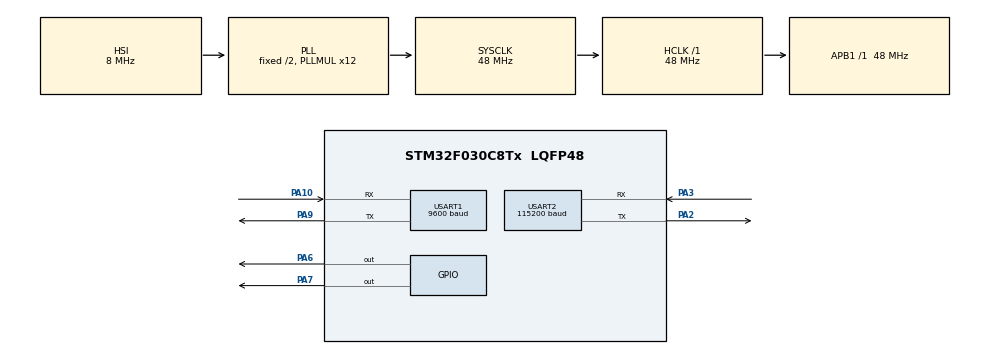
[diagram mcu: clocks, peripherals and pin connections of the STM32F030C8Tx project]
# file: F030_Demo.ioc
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Mcu.Family=STM32F0
Mcu.Name=STM32F030C8Tx
Mcu.Package=LQFP48
NVIC.USART1_IRQn=true\:0\:0\:false\:false\:true\:true\:true
NVIC.USART2_IRQn=true\:0\:0\:false\:false\:true\:true\:true
PA10.GPIO_PuPd=GPIO_PULLUP
PA10.Mode=Asynchronous
PA10.Signal=USART1_RX
PA13.Mode=Serial_Wire
PA13.Signal=SYS_SWDIO
PA14.Mode=Serial_Wire
PA14.Signal=SYS_SWCLK
PA2.GPIO_PuPd=GPIO_PULLUP
PA2.Mode=Asynchronous
PA2.Signal=USART2_TX
PA3.GPIO_PuPd=GPIO_PULLUP
PA3.Mode=Asynchronous
PA3.Signal=USART2_RX
PA6.GPIO_PuPd=GPIO_PULLUP
PA6.PinState=GPIO_PIN_SET
PA6.Signal=GPIO_Output
PA7.GPIO_PuPd=GPIO_PULLUP
PA7.PinState=GPIO_PIN_SET
PA7.Signal=GPIO_Output
PA9.GPIO_PuPd=GPIO_PULLUP
PA9.Mode=Asynchronous
PA9.Signal=USART1_TX
PF0-OSC_IN.Mode=HSE-External-Oscillator
PF0-OSC_IN.Signal=RCC_OSC_IN
PF1-OSC_OUT.Mode=HSE-External-Oscillator
PF1-OSC_OUT.Signal=RCC_OSC_OUT
ProjectManager.HeapSize=0x200
ProjectManager.StackSize=0x400
ProjectManager.TargetToolchain=MDK-ARM V5.27
RCC.AHBFreq_Value=48000000
RCC.APB1Freq_Value=48000000
RCC.APB1TimFreq_Value=48000000
RCC.HCLKFreq_Value=48000000
RCC.PLLMUL=RCC_PLL_MUL12
RCC.SYSCLKFreq_VALUE=48000000
RCC.SYSCLKSource=RCC_SYSCLKSOURCE_PLLCLK
USART1.BaudRate=9600
USART1.VirtualMode-Asynchronous=VM_ASYNC
USART2.BaudRate=115200
USART2.VirtualMode-Asynchronous=VM_ASYNC
board=custom

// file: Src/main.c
/* USER CODE BEGIN Header */
/**
  ******************************************************************************
  * @file           : main.c
  * @brief          : Main program body
  ******************************************************************************
  * @attention
  *
  * <h2><center>&copy; Copyright (c) 2020 STMicroelectronics.
  * All rights reserved.</center></h2>
  *
  * This software component is licensed by ST under BSD 3-Clause license,
  * the "License"; You may not use this file except in compliance with the
  * License. You may obtain a copy of the License at:
  *                        opensource.org/licenses/BSD-3-Clause
  *
  ******************************************************************************
  */
/* USER CODE END Header */

#include "main.h"
#include "usart.h"
#include "gpio.h"

/* USER CODE BEGIN Includes */
#include "stdio.h"
#include "ringbuff.h"
#include "string.h"
/* USER CODE END Includes */

void SystemClock_Config(void);

/* USER CODE BEGIN 0 */

//用于串口接收
uint8_t recv_data = 0;

//用于存储从缓冲区读取出的数据
uint8_t read_data = 0;

//用于串口1的ringbuff句柄
ringbuff_t usart1_ringbuff;

//开辟一块内存用于缓冲区
#define USART1_BUFFDATA_SIZE 150
uint8_t usart1_buffdata[USART1_BUFFDATA_SIZE];

#define USER_BUFFDATA_SIZE  10
uint8_t User_BuffData[USER_BUFFDATA_SIZE];

/* USER CODE END 0 */
uint8_t Data_Flag = 0;
uint8_t buff_len;
int main(void)
{
  /* USER CODE BEGIN 1 */
   uint8_t len;

   uint8_t data_len;
	uint8_t i;
	uint8_t j;
  /* USER CODE END 1 */

  /* MCU Configuration--------------------------------------------------------*/

  /* Reset of all peripherals, Initializes the Flash interface and the Systick. */
  HAL_Init();

  /* Configure the system clock */
  SystemClock_Config();

  /* Initialize all configured peripherals */
  MX_GPIO_Init();
  MX_USART2_UART_Init();
  MX_USART1_UART_Init();
  /* USER CODE BEGIN 2 */

 printf("ringbuff Port By FJT\r\n");

//初始化ringbuff句柄
if(1 != ringbuff_init(&usart1_ringbuff, (uint8_t*)usart1_buffdata, USART1_BUFFDATA_SIZE))
{
 printf("usart1 ringbuff init fail.\r\n");
}

//使能串口中断接收
HAL_UART_Receive_IT(&huart2, (uint8_t*)&recv_data, 1);

  /* USER CODE END 2 */

  /* Infinite loop */
  /* USER CODE BEGIN WHILE */
  while (1)
  {
	  //HAL_GPIO_TogglePin(GPIOA,GPIO_PIN_4);
	   HAL_Delay(100);
	  HAL_GPIO_TogglePin(GPIOB,GPIO_PIN_0);

		buff_len = sizeof(User_BuffData);

    /* USER CODE END WHILE */
    /* USER CODE BEGIN 3 */
	while((len = ringbuff_read(&usart1_ringbuff, &User_BuffData, sizeof(User_BuffData))) > 0)
	{

		/* 捕获起始标志 */
		if(User_BuffData[0] == 0x3F)
		{
			/*
			//读取数据字节数，最大支持0xFF
			if((len = ringbuff_read(&usart1_ringbuff, &User_BuffData, sizeof(User_BuffData))) > 0)
			{
				data_len = User_BuffData[0];
				printf("your data has %d byte(s):\r\n\t", data_len);
			}
			*/
			//提取data_len个数据
			for(i = 2; i < User_BuffData[1]; i++)
			{
				ringbuff_read(&usart1_ringbuff, &User_BuffData, sizeof(User_BuffData));
			}
			for (j =0;j<10;j++)
			{

			printf("[%d]",User_BuffData[j]);
			}
			printf("over\r\n");
		}
	}
 HAL_Delay(200);

    /* USER CODE BEGIN 3 */
  }
  /* USER CODE END 3 */
}

void SystemClock_Config(void)
{
  RCC_OscInitTypeDef RCC_OscInitStruct = {0};
  RCC_ClkInitTypeDef RCC_ClkInitStruct = {0};
  RCC_PeriphCLKInitTypeDef PeriphClkInit = {0};

  /** Initializes the CPU, AHB and APB busses clocks
  */
  RCC_OscInitStruct.OscillatorType = RCC_OSCILLATORTYPE_HSI;
  RCC_OscInitStruct.HSIState = RCC_HSI_ON;
  RCC_OscInitStruct.HSICalibrationValue = RCC_HSICALIBRATION_DEFAULT;
  RCC_OscInitStruct.PLL.PLLState = RCC_PLL_ON;
  RCC_OscInitStruct.PLL.PLLSource = RCC_PLLSOURCE_HSI;
  RCC_OscInitStruct.PLL.PLLMUL = RCC_PLL_MUL12;
  RCC_OscInitStruct.PLL.PREDIV = RCC_PREDIV_DIV1;
  if (HAL_RCC_OscConfig(&RCC_OscInitStruct) != HAL_OK)
  {
    Error_Handler();
  }
  /** Initializes the CPU, AHB and APB busses clocks
  */
  RCC_ClkInitStruct.ClockType = RCC_CLOCKTYPE_HCLK|RCC_CLOCKTYPE_SYSCLK
                              |RCC_CLOCKTYPE_PCLK1;
  RCC_ClkInitStruct.SYSCLKSource = RCC_SYSCLKSOURCE_PLLCLK;
  RCC_ClkInitStruct.AHBCLKDivider = RCC_SYSCLK_DIV1;
  RCC_ClkInitStruct.APB1CLKDivider = RCC_HCLK_DIV1;

  if (HAL_RCC_ClockConfig(&RCC_ClkInitStruct, FLASH_LATENCY_1) != HAL_OK)
  {
    Error_Handler();
  }
  PeriphClkInit.PeriphClockSelection = RCC_PERIPHCLK_USART1;
  PeriphClkInit.Usart1ClockSelection = RCC_USART1CLKSOURCE_PCLK1;
  if (HAL_RCCEx_PeriphCLKConfig(&PeriphClkInit) != HAL_OK)
  {
    Error_Handler();
  }
}

/* USER CODE BEGIN 4 */
/* 中断回调函数 */
void HAL_UART_RxCpltCallback(UART_HandleTypeDef *huart)
{
    /* 判断是哪个串口触发的中断 */
    if(huart ->Instance == USART2)
    {
  /* 将接收到的数据写入缓冲区 */
  ringbuff_write(&usart1_ringbuff, &recv_data, 1);
		Data_Flag = 1;
        //重新使能串口接收中断
        HAL_UART_Receive_IT(huart, (uint8_t*)&recv_data, 1);
    }
}
/* USER CODE END 4 */

void Error_Handler(void)
{
}

/************************ (C) COPYRIGHT STMicroelectronics *****END OF FILE****/
